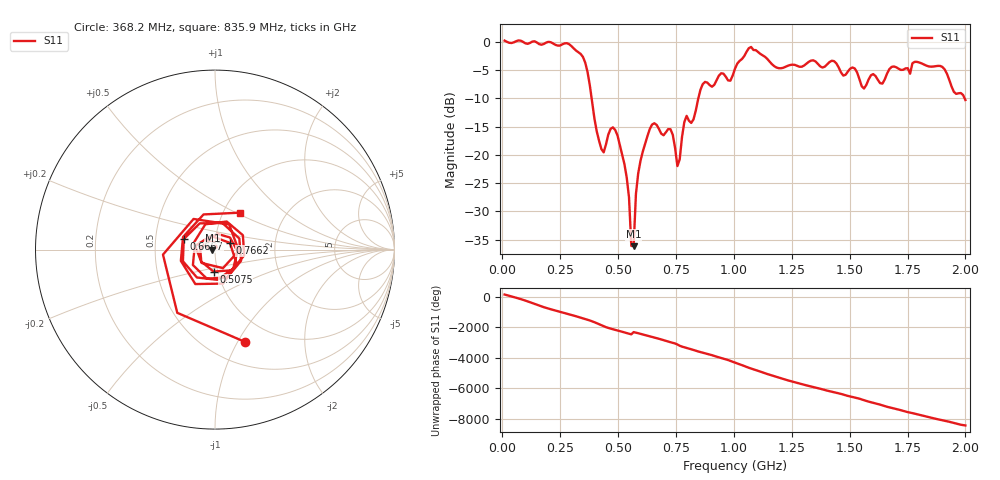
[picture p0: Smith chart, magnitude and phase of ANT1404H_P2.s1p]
!Created with skrf (http://scikit-rf.org).
# Hz S RI R 50.0
!freq ReS11 ImS11
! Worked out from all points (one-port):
!   201 points, 10 MHz to 2 GHz, reference 50 ohm
!   lowest |S11| = -36.2 dB at 567.2 MHz (marker M1), VSWR 1.03, Z = 48.5 - j0.45 ohm
!   |S11| at or under -10 dB: 385.7 MHz to 846.7 MHz (461 MHz wide, 74.8 % of centre); 1.996527 GHz to end of sweep
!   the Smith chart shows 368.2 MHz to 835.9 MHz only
!   S11 on the Smith chart (normalised r, x): 368.2 MHz: 0.74, -1.07; 507.5 MHz: 0.95, -0.24; 666.7 MHz: 0.70, +0.08; 766.2 MHz: 1.18, +0.09; 835.9 MHz: 1.19, +0.52
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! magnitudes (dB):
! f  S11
! 10 MHz  0.2
! 258.8 MHz  -0.5
! 368.2 MHz  -5.4
! 427.9 MHz  -19.0
! 477.6 MHz  -15.1
! 507.5 MHz  -18.2
! 537.4 MHz  -24.0
! 547.3 MHz  -27.6
! 557.2 MHz  -36.1
! 567.2 MHz  -36.2
! 577.1 MHz  -26.9
! 597 MHz  -21.0
! 636.9 MHz  -15.4
! 666.7 MHz  -14.7
! 726.4 MHz  -15.5
! 756.2 MHz  -22.0
! 766.2 MHz  -20.8
! 786.1 MHz  -14.2
! 835.9 MHz  -12.1
! 865.7 MHz  -7.5
! 1.005 GHz  -4.8
! 1.075 GHz  -0.9
! 1.254 GHz  -4.1
! 1.502 GHz  -4.8
! 1.562 GHz  -8.3
! 1.751 GHz  -4.7
! 1.901 GHz  -4.5
! 2 GHz  -10.3
